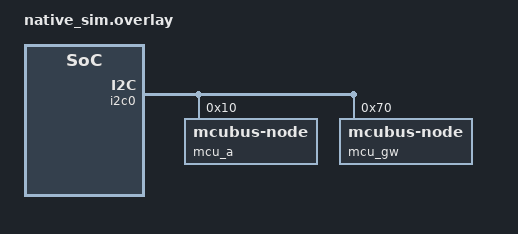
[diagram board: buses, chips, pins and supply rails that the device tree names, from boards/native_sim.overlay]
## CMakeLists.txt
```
# Copyright (c) 2026 Christoph Jans <jans.christoph@gmail.com>
# SPDX-License-Identifier: Apache-2.0

cmake_minimum_required(VERSION 3.20.0)

# One image per MCU: a is the board with MCUmgr, gw the gateway to the laptop.
# NODE picks the node of boards/native_sim.overlay this image is.
set(NODE a CACHE STRING "MCU to build: a or gw")
if(NODE STREQUAL "gw")
  set(role gateway)
else()
  set(role board)
  list(APPEND EXTRA_CONF_FILE ${CMAKE_CURRENT_SOURCE_DIR}/board.conf)
endif()
list(APPEND EXTRA_DTC_OVERLAY_FILE ${CMAKE_CURRENT_SOURCE_DIR}/${role}.overlay)
list(APPEND DTS_EXTRA_CPPFLAGS -DMCUBUS_SELF_LABEL=mcu_${NODE})

find_package(Zephyr REQUIRED HINTS $ENV{ZEPHYR_BASE})
project(mcubus_smp)

target_sources(app PRIVATE src/main.c)
```

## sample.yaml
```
# Copyright (c) 2026 Christoph Jans <jans.christoph@gmail.com>
# SPDX-License-Identifier: Apache-2.0

sample:
  name: MCUmgr over the mcubus
common:
  platform_allow:
    - native_sim
  integration_platforms:
    - native_sim
  tags:
    - i2c
    - mcumgr
tests:
  # The gateway, started by twister; pytest/test_smp.py starts the board next
  # to it and talks SMP to it through the gateway's PTY
  sample.mcubus.smp:
    extra_args: NODE=gw
    harness: pytest
    required_applications:
      - name: sample.mcubus.smp.node_a
  sample.mcubus.smp.node_a:
    extra_args: NODE=a
    build_only: true
```

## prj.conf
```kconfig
# Copyright (c) 2026 Christoph Jans <jans.christoph@gmail.com>
# SPDX-License-Identifier: Apache-2.0

# CONFIG_MCUBUS, the bus port and CONFIG_UART_MCUBUS come with the devicetree
CONFIG_I2C=y
CONFIG_SERIAL=y
CONFIG_LOG=y
CONFIG_LOG_BACKEND_SHOW_COLOR=n
```

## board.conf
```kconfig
# Copyright (c) 2026 Christoph Jans <jans.christoph@gmail.com>
# SPDX-License-Identifier: Apache-2.0

# The shell on the UART over the bus (board.overlay); the log stays on stdout
CONFIG_SHELL=y
CONFIG_SHELL_LOG_BACKEND=n
CONFIG_SHELL_VT100_COLORS=n

# MCUmgr on the shell: the shell hands SMP frames to MCUmgr. One group, os:
# echo, and the parameters that SMP clients ask for first.
CONFIG_MCUMGR=y
CONFIG_NET_BUF=y
CONFIG_ZCBOR=y
CONFIG_CRC=y
CONFIG_BASE64=y
CONFIG_MCUMGR_TRANSPORT_SHELL=y
CONFIG_MCUMGR_GRP_OS=y
CONFIG_MCUMGR_GRP_OS_MCUMGR_PARAMS=y
```

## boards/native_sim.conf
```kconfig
# Copyright (c) 2026 Christoph Jans <jans.christoph@gmail.com>
# SPDX-License-Identifier: Apache-2.0

# The MCUs are separate processes that find each other in wall-clock time
CONFIG_NATIVE_SIM_SLOWDOWN_TO_REAL_TIME=y

# The emulated bus times every byte (90 us at 100 kHz): a 10 ms tick would
# round each of them up to 10 ms
CONFIG_SYS_CLOCK_TICKS_PER_SEC=100000
```

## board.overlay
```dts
/*
 * Copyright (c) 2026 Christoph Jans <jans.christoph@gmail.com>
 *
 * SPDX-License-Identifier: Apache-2.0
 */

/* The board: shell, and so MCUmgr, on a UART to the gateway */

/ {
	chosen {
		zephyr,shell-uart = &bus_uart;
	};

	bus_uart: bus-uart {
		compatible = "zephyr,mcubus-uart";
		peer = <&mcu_gw>;
	};
};
```

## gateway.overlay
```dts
/*
 * Copyright (c) 2026 Christoph Jans <jans.christoph@gmail.com>
 *
 * SPDX-License-Identifier: Apache-2.0
 */

/* The gateway: a UART to the board, bridged to a PTY */

/ {
	bus_uart_a: bus-uart-a {
		compatible = "zephyr,mcubus-uart";
		peer = <&mcu_a>;
	};

	bridge-a {
		compatible = "zephyr,uart-bridge";
		peers = <&bus_uart_a &host_a>;
	};
};

&host_a {
	status = "okay";
};
```

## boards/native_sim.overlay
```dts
/*
 * Copyright (c) 2026 Christoph Jans <jans.christoph@gmail.com>
 *
 * SPDX-License-Identifier: Apache-2.0
 */

/* The bus on native_sim (zephyr,i2c-mm-emul); MCUBUS_SELF_LABEL is mcu_<NODE> */

/ {
	chosen {
		zephyr,mcubus-self = &MCUBUS_SELF_LABEL;
	};

	/* The gateway's port to the laptop (gateway.overlay enables it):
	 * "pty-a connected to pseudotty: /dev/pts/N"
	 */
	host_a: pty-a {
		compatible = "zephyr,native-pty-uart";
		current-speed = <0>;
		status = "disabled";
	};
};

&i2c0 {
	compatible = "zephyr,i2c-mm-emul";
	bus-id = <3>;

	mcu_a: mcu-a@10 {
		compatible = "zephyr,mcubus-node";
		reg = <0x10>;
	};

	mcu_gw: gw@70 {
		compatible = "zephyr,mcubus-node";
		reg = <0x70>;
	};
};
```

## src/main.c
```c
/*
 * Copyright (c) 2026 Christoph Jans <jans.christoph@gmail.com>
 *
 * SPDX-License-Identifier: Apache-2.0
 *
 * MCUmgr over the mcubus: the board and the gateway are configuration only
 * (board.conf, board.overlay, gateway.overlay). This says which one runs.
 */

#include <zephyr/kernel.h>
#include <zephyr/logging/log.h>

#include <mcubus/mcubus.h>

LOG_MODULE_REGISTER(smp_sample, LOG_LEVEL_INF);

int main(void)
{
	LOG_INF("%s at 0x%02x: %s", mcubus_name(), mcubus_addr(),
		IS_ENABLED(CONFIG_MCUMGR) ? "MCUmgr on the shell" : "gateway");
	return 0;
}
```
